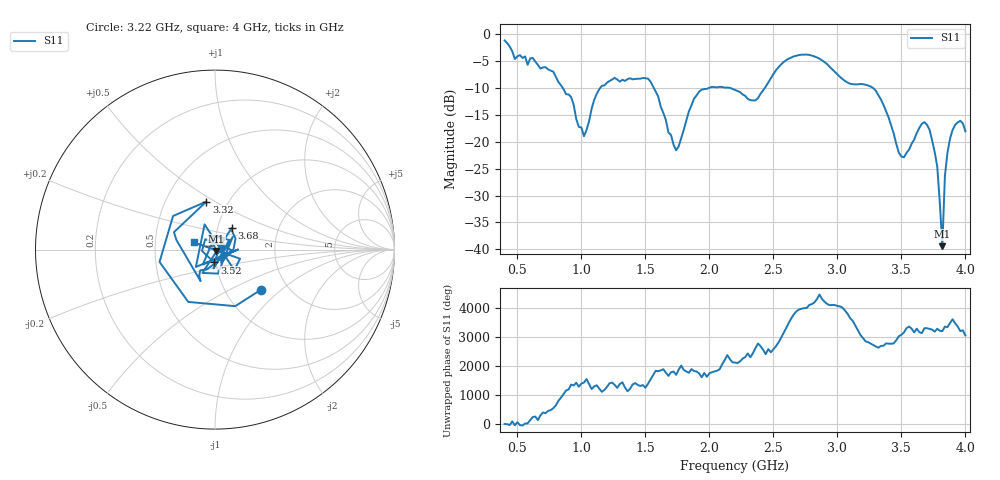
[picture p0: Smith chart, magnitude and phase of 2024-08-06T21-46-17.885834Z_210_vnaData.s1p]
!Created with skrf (http://scikit-rf.org).
# Hz S RI R 50.0
!freq ReS11 ImS11
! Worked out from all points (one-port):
!   181 points, 400 MHz to 4 GHz, reference 50 ohm
!   lowest |S11| = -39.4 dB at 3.82 GHz (marker M1), VSWR 1.02, Z = 50.7 - j0.82 ohm
!   |S11| at or under -10 dB: 855.4 MHz to 1.146 GHz (290.7 MHz wide, 29 % of centre); 1.566 GHz to 1.993 GHz (426.4 MHz wide, 24 % of centre); 3.28 GHz to end of sweep (the widest 3 of 4)
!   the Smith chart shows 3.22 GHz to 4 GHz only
!   S11 on the Smith chart (normalised r, x): 3.22 GHz: 1.47, -0.74; 3.32 GHz: 0.79, +0.46; 3.52 GHz: 0.98, -0.14; 3.68 GHz: 1.17, +0.29; 4 GHz: 0.79, +0.06
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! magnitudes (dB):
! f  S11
! 400 MHz  -1.1
! 480 MHz  -4.6
! 620 MHz  -4.4
! 860 MHz  -10.2
! 1.02 GHz  -18.9
! 1.14 GHz  -10.2
! 1.3 GHz  -8.8
! 1.52 GHz  -8.2
! 1.72 GHz  -20.5
! 1.76 GHz  -20.8
! 1.92 GHz  -10.7
! 2.2 GHz  -10.3
! 2.36 GHz  -12.3
! 2.66 GHz  -4.1
! 2.84 GHz  -4.3
! 3.1 GHz  -9.2
! 3.22 GHz  -9.4
! 3.32 GHz  -11.3
! 3.52 GHz  -22.9
! 3.56 GHz  -21.4
! 3.68 GHz  -16.3
! 3.72 GHz  -17.7
! 3.78 GHz  -24.6
! 3.82 GHz  -39.4
! 3.84 GHz  -26.3
! 3.88 GHz  -19.4
! 3.96 GHz  -16.1
! 4 GHz  -18.0
